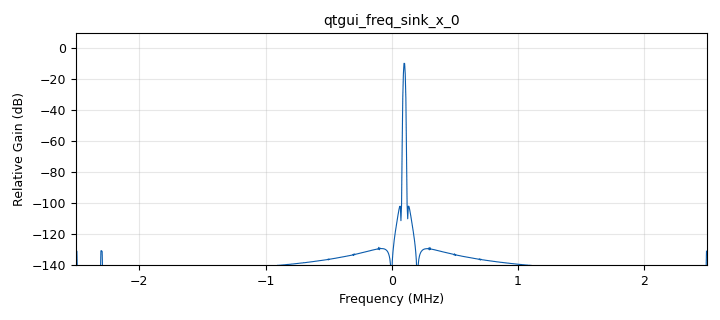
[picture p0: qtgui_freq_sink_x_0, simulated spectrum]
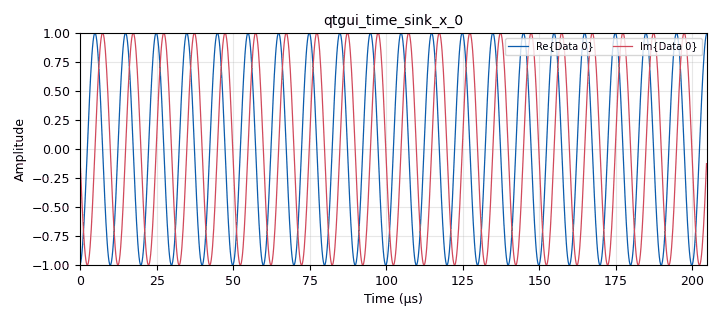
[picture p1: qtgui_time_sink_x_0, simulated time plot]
options:
  parameters:
    generate_options: qt_gui
    id: delete
    output_language: python
    title: Not titled yet
  states: {}

blocks:
- name: samp_rate
  id: variable
  parameters:
    value: 5e6
  states: {}
- name: analog_sig_source_x_0
  id: analog_sig_source_x
  parameters:
    amp: '1'
    freq: '100000'
    offset: '0'
    phase: '0'
    samp_rate: samp_rate
    type: complex
    waveform: analog.GR_COS_WAVE
  states: {}
- name: blocks_file_sink_0
  id: blocks_file_sink
  parameters:
    file: cos.wave.iq
    type: complex
  states: {}
- name: qtgui_freq_sink_x_0
  id: qtgui_freq_sink_x
  parameters:
    bw: samp_rate
    fc: '0'
    fftsize: '1024'
    type: complex
  states: {}
- name: qtgui_time_sink_x_0
  id: qtgui_time_sink_x
  parameters:
    size: '1024'
    srate: samp_rate
    type: complex
  states: {}

connections:
- [analog_sig_source_x_0, '0', blocks_file_sink_0, '0']
- [analog_sig_source_x_0, '0', qtgui_freq_sink_x_0, '0']
- [analog_sig_source_x_0, '0', qtgui_time_sink_x_0, '0']

metadata:
  file_format: 1
